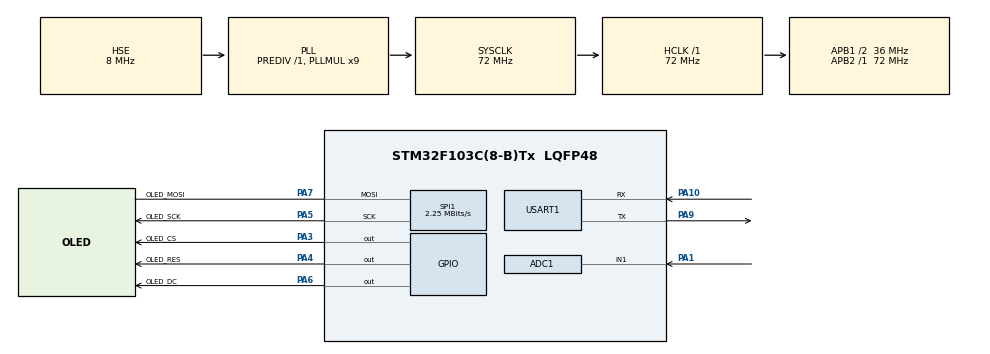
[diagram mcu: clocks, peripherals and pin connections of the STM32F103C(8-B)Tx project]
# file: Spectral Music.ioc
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ADC1.Channel-3\#ChannelRegularConversion=ADC_CHANNEL_1
ADC1.ContinuousConvMode=DISABLE
ADC1.ExternalTrigConv=ADC_EXTERNALTRIGCONV_T3_TRGO
ADC1.NbrOfConversionFlag=1
ADC1.Rank-3\#ChannelRegularConversion=1
ADC1.SamplingTime-3\#ChannelRegularConversion=ADC_SAMPLETIME_1CYCLE_5
ADC1.master=1
Dma.ADC1.0.Direction=DMA_PERIPH_TO_MEMORY
Dma.ADC1.0.Instance=DMA1_Channel1
Dma.ADC1.0.MemDataAlignment=DMA_MDATAALIGN_HALFWORD
Dma.ADC1.0.MemInc=DMA_MINC_ENABLE
Dma.ADC1.0.Mode=DMA_CIRCULAR
Dma.ADC1.0.PeriphDataAlignment=DMA_PDATAALIGN_HALFWORD
Dma.ADC1.0.PeriphInc=DMA_PINC_DISABLE
Dma.ADC1.0.Priority=DMA_PRIORITY_VERY_HIGH
Dma.Request0=ADC1
Dma.Request1=SPI1_TX
Dma.SPI1_TX.1.Direction=DMA_MEMORY_TO_PERIPH
Dma.SPI1_TX.1.Instance=DMA1_Channel3
Dma.SPI1_TX.1.MemDataAlignment=DMA_MDATAALIGN_BYTE
Dma.SPI1_TX.1.MemInc=DMA_MINC_ENABLE
Dma.SPI1_TX.1.Mode=DMA_NORMAL
Dma.SPI1_TX.1.PeriphDataAlignment=DMA_PDATAALIGN_BYTE
Dma.SPI1_TX.1.PeriphInc=DMA_PINC_DISABLE
Dma.SPI1_TX.1.Priority=DMA_PRIORITY_LOW
Mcu.Family=STM32F1
Mcu.Name=STM32F103C(8-B)Tx
Mcu.Package=LQFP48
NVIC.DMA1_Channel1_IRQn=true\:0\:0\:false\:false\:true\:false\:true\:true
NVIC.DMA1_Channel3_IRQn=true\:0\:0\:false\:false\:true\:false\:true\:true
NVIC.PriorityGroup=NVIC_PRIORITYGROUP_4
PA1.Signal=ADCx_IN1
PA10.Mode=Asynchronous
PA10.Signal=USART1_RX
PA13.Mode=Serial_Wire
PA13.Signal=SYS_JTMS-SWDIO
PA14.Mode=Serial_Wire
PA14.Signal=SYS_JTCK-SWCLK
PA3.GPIO_Label=OLED_CS
PA3.GPIO_Speed=GPIO_SPEED_FREQ_HIGH
PA3.Signal=GPIO_Output
PA4.GPIO_Label=OLED_RES
PA4.Signal=GPIO_Output
PA5.GPIO_Label=OLED_SCK
PA5.Mode=Simplex_Bidirectional_Master
PA5.Signal=SPI1_SCK
PA6.GPIO_Label=OLED_DC
PA6.Signal=GPIO_Output
PA7.GPIO_Label=OLED_MOSI
PA7.Mode=Simplex_Bidirectional_Master
PA7.Signal=SPI1_MOSI
PA9.Mode=Asynchronous
PA9.Signal=USART1_TX
PD0-OSC_IN.Mode=HSE-External-Oscillator
PD0-OSC_IN.Signal=RCC_OSC_IN
PD1-OSC_OUT.Mode=HSE-External-Oscillator
PD1-OSC_OUT.Signal=RCC_OSC_OUT
ProjectManager.HeapSize=0x200
ProjectManager.StackSize=0x400
ProjectManager.TargetToolchain=MDK-ARM V5.32
RCC.ADCPresc=RCC_ADCPCLK2_DIV6
RCC.AHBFreq_Value=72000000
RCC.APB1CLKDivider=RCC_HCLK_DIV2
RCC.APB1Freq_Value=36000000
RCC.APB1TimFreq_Value=72000000
RCC.APB2Freq_Value=72000000
RCC.APB2TimFreq_Value=72000000
RCC.HCLKFreq_Value=72000000
RCC.PLLMUL=RCC_PLL_MUL9
RCC.PLLSourceVirtual=RCC_PLLSOURCE_HSE
RCC.SYSCLKFreq_VALUE=72000000
RCC.SYSCLKSource=RCC_SYSCLKSOURCE_PLLCLK
RCC.USBFreq_Value=72000000
SH.ADCx_IN1.0=ADC1_IN1,IN1
SPI1.BaudRatePrescaler=SPI_BAUDRATEPRESCALER_32
SPI1.CLKPhase=SPI_PHASE_2EDGE
SPI1.CLKPolarity=SPI_POLARITY_HIGH
SPI1.CalculateBaudRate=2.25 MBits/s
SPI1.Direction=SPI_DIRECTION_1LINE
SPI1.Mode=SPI_MODE_MASTER
SPI1.VirtualType=VM_MASTER
TIM3.Period=10-1
TIM3.Prescaler=72-1
TIM3.TIM_MasterOutputTrigger=TIM_TRGO_UPDATE
USART1.VirtualMode=VM_ASYNC
VP_TIM3_VS_ClockSourceINT.Mode=Internal
board=custom

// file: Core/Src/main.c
/* USER CODE BEGIN Header */
/**
  ******************************************************************************
  * @file           : main.c
  * @brief          : Main program body
  ******************************************************************************
  * @attention
  *
  * Copyright (c) 2024 STMicroelectronics.
  * All rights reserved.
  *
  * This software is licensed under terms that can be found in the LICENSE file
  * in the root directory of this software component.
  * If no LICENSE file comes with this software, it is provided AS-IS.
  *
  ******************************************************************************
  */
/* USER CODE END Header */
#include "main.h"
#include "adc.h"
#include "dma.h"
#include "spi.h"
#include "tim.h"
#include "usart.h"
#include "gpio.h"

/* USER CODE BEGIN Includes */
#include "stdio.h"
#include "fft.h"
#include "oled_driver.h"
/* USER CODE END Includes */

void SystemClock_Config(void);

/* USER CODE BEGIN 0 */
int fputc(int ch, FILE *f)//串口发送重定向
{
	HAL_UART_Transmit(&huart1,(uint8_t *)&ch,1,0xffff);
	return ch;
}

u8g2_t u8g2; // 显示器初始化结构体

uint32_t prt = 200;	    //量化显示的比例
uint8_t fall_pot[128];	//记录下落点的坐标

void display1(void);
void display2(void);
void display3(void);
void display4(void);
void display5(void);
/* USER CODE END 0 */

int main(void)
{

  /* MCU Configuration--------------------------------------------------------*/

  /* Reset of all peripherals, Initializes the Flash interface and the Systick. */
  HAL_Init();

  /* Configure the system clock */
  SystemClock_Config();

  /* Initialize all configured peripherals */
  MX_GPIO_Init();
  MX_DMA_Init();
  MX_ADC1_Init();
  MX_USART1_UART_Init();
  MX_TIM3_Init();
  MX_SPI1_Init();
  /* USER CODE BEGIN 2 */
	TIM3->PSC=FFT_PSC-1; //ADC采样 预分频值
	TIM3->ARR=FFT_ARR-1; //ADC采样 自动重装载值
	fft_Init();

  MD_OLED_RST_Set(); //显示器复位拉高
  u8g2Init(&u8g2);   //显示器调用初始化函数

	//初始化下落点 把下落的点 初始化为最底部显示
	for(uint8_t i=0;i<128;i++)
		fall_pot[i] = 63;
  /* USER CODE END 2 */

  /* Infinite loop */
  while (1)
  {

    /* USER CODE BEGIN 3 */
		fft_get_adc_value();
		fft_calculation();
		GetPowerMag();
		u8g2_FirstPage(&u8g2);
		do
		{
//			draw(&u8g2);
//			u8g2DrawTest(&u8g2);
//			u8g2_DrawBox(&u8g2,0,10,3,10);
//			testDrawProcess(&u8g2);
			display3();
			display4();

			display5();
		} while (u8g2_NextPage(&u8g2));

  }
  /* USER CODE END 3 */
}

void SystemClock_Config(void)
{
  RCC_OscInitTypeDef RCC_OscInitStruct = {0};
  RCC_ClkInitTypeDef RCC_ClkInitStruct = {0};
  RCC_PeriphCLKInitTypeDef PeriphClkInit = {0};

  /** Initializes the RCC Oscillators according to the specified parameters
  * in the RCC_OscInitTypeDef structure.
  */
  RCC_OscInitStruct.OscillatorType = RCC_OSCILLATORTYPE_HSE;
  RCC_OscInitStruct.HSEState = RCC_HSE_ON;
  RCC_OscInitStruct.HSEPredivValue = RCC_HSE_PREDIV_DIV1;
  RCC_OscInitStruct.HSIState = RCC_HSI_ON;
  RCC_OscInitStruct.PLL.PLLState = RCC_PLL_ON;
  RCC_OscInitStruct.PLL.PLLSource = RCC_PLLSOURCE_HSE;
  RCC_OscInitStruct.PLL.PLLMUL = RCC_PLL_MUL9;
  if (HAL_RCC_OscConfig(&RCC_OscInitStruct) != HAL_OK)
  {
    Error_Handler();
  }

  /** Initializes the CPU, AHB and APB buses clocks
  */
  RCC_ClkInitStruct.ClockType = RCC_CLOCKTYPE_HCLK|RCC_CLOCKTYPE_SYSCLK
                              |RCC_CLOCKTYPE_PCLK1|RCC_CLOCKTYPE_PCLK2;
  RCC_ClkInitStruct.SYSCLKSource = RCC_SYSCLKSOURCE_PLLCLK;
  RCC_ClkInitStruct.AHBCLKDivider = RCC_SYSCLK_DIV1;
  RCC_ClkInitStruct.APB1CLKDivider = RCC_HCLK_DIV2;
  RCC_ClkInitStruct.APB2CLKDivider = RCC_HCLK_DIV1;

  if (HAL_RCC_ClockConfig(&RCC_ClkInitStruct, FLASH_LATENCY_2) != HAL_OK)
  {
    Error_Handler();
  }
  PeriphClkInit.PeriphClockSelection = RCC_PERIPHCLK_ADC;
  PeriphClkInit.AdcClockSelection = RCC_ADCPCLK2_DIV6;
  if (HAL_RCCEx_PeriphCLKConfig(&PeriphClkInit) != HAL_OK)
  {
    Error_Handler();
  }
}

/* USER CODE BEGIN 4 */

/*64柱状显示*/
void display1(void)
{
	uint16_t i = 0;
	uint8_t x = 0;
	uint8_t y = 0;

	/*******************显示*******************/
	for(i = 0; i < 32; i++)	//间隔的取32个频率出来显示
	{
		x = (i<<2);	//i*4
		y = 63-(fft_Struct.testOutput[x+1]*prt)-2;	//加1是为了丢掉第一个直流分量
		if(y>63) y = 63;

		u8g2_DrawBox(&u8g2,x,y,3,y);//画柱状图

		if(fall_pot[i]>y) fall_pot[i] = y;
		else
		{
			if(fall_pot[i]>63) fall_pot[i]=63;
			u8g2_DrawBox(&u8g2,x,fall_pot[i]+3,3,3);//画下落的点
			fall_pot[i] += 2 ;
		}
	}
}

/*单柱状显示*/
void display2(void)
{
	uint16_t i = 0;
	uint8_t y = 0;

	/*******************显示*******************/
	for(i = 1; i < 128; i++)
	{
		y = 63-(fft_Struct.testOutput[i+1]*prt)-1;
		if(y>63) y = 63;

		u8g2_DrawBox(&u8g2,i,y,1,y);//画柱状图
		//画下落的点
		if(fall_pot[i]>y) fall_pot[i] = y;
		else
		{
				if(fall_pot[i]>63) fall_pot[i]=63;
				u8g2_DrawBox(&u8g2,i,fall_pot[i]+1,1,1);//画下落的点
				fall_pot[i] += 2 ;
		}
	}
}

/*32柱状显示*/
void display3(void)
{
	uint16_t i = 0;
	uint8_t x = 0;
	uint8_t y = 0;
	GetPowerMag();
	/*******************显示*******************/
	for(i = 0; i < 32; i++)	//间隔的取32个频率出来显示
	{
		x = (i<<2);	//i*4
		y = 31-(fft_Struct.testOutput[x+1]*prt)-1;	//加1是为了丢掉第一个直流分量
		if(y>31) y = 31;

		u8g2_DrawBox(&u8g2,x,y+32,3,32-y);//画柱状图

		//画下落的点
		if(fall_pot[i]>y) fall_pot[i] = y;
		else
		{
			if(fall_pot[i]>31) fall_pot[i]=31;
			u8g2_DrawBox(&u8g2,x,fall_pot[i]+32+3,3,3);//画柱状图
			fall_pot[i] += 2 ;
		}
	}
}

/*显示频率 误差 采样率*/
void display4(void)
{
	char buff[20];
	sprintf(buff,"F:%5d E:%d SF:%d",(uint16_t)MAX_F,(uint16_t)(FFT_FS/SAMPLING),(uint16_t)FFT_FS);
	u8g2_SetFont(&u8g2,u8g2_font_courB08_tf);
	u8g2_DrawStr(&u8g2,0,12,buff);
	u8g2_SendBuffer(&u8g2);
}

/*波形图*/
void display5(void)
{
	uint16_t i = 0;
	uint8_t y = 0;
	uint16_t cur_adc =0;
	uint16_t last_adc =15;
	/*******************显示*******************/
	for(i = 1; i < 128; i++)
	{
		cur_adc=fft_Struct.ADC_Digital_Value[i*2]/128;
		u8g2_DrawLine(&u8g2,i-1,last_adc,i,cur_adc);
		last_adc = cur_adc;
		cur_adc = 0;
	}
}

void HAL_ADC_ConvCpltCallback(ADC_HandleTypeDef* hadc)//ADC转换完成回调函数
{
  AD_Flag=1;//AD_Flag标志位置
}
/* USER CODE END 4 */

void Error_Handler(void)
{
  __disable_irq();
  while (1)
  {
  }
}
